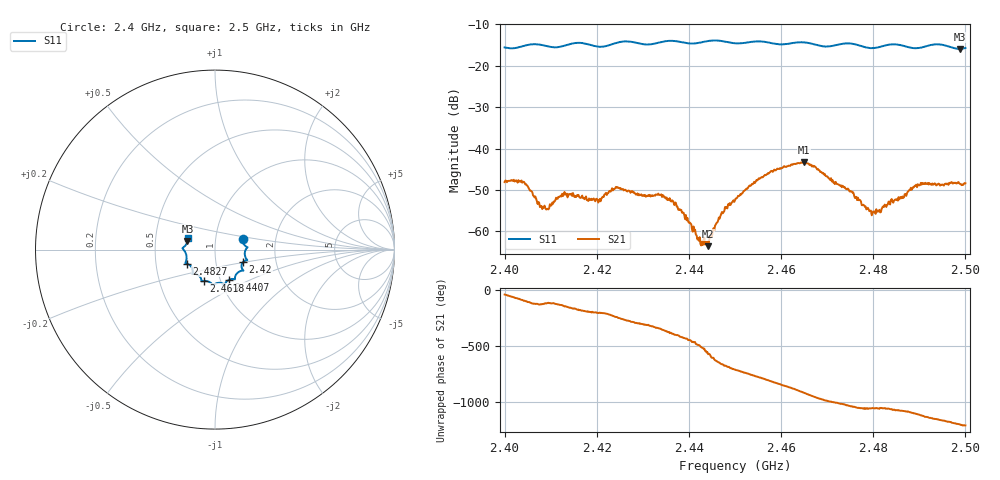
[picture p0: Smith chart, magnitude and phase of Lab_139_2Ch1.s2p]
# Hz S RI R 50
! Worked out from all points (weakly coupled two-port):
!   601 points, 2.4 GHz to 2.5 GHz, reference 50 ohm
!   highest |S21| = -43.31 dB at 2.465 GHz (marker M1); lowest = -63.6 dB at 2.4442 GHz (marker M2)
!   lowest |S11| = -15.9 dB at 2.4988 GHz (marker M3), VSWR 1.38, Z = 36.6 + j3.41 ohm
!   |S11| at or under -10 dB: start of sweep to end of sweep
!   S12 and S22 are empty: the file has one direction only
!   S11 on the Smith chart (normalised r, x): 2.4 GHz: 1.35, +0.17; 2.42 GHz: 1.36, -0.19; 2.4407 GHz: 1.10, -0.38; 2.4618 GHz: 0.83, -0.30; 2.4827 GHz: 0.72, -0.12; 2.5 GHz: 0.73, +0.10
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2.4e9  0.1547 0.0614  0.00316 -0.00235  0 0  0 0
2.404167e9  0.1728 0.017  -0.000208 -0.00397  0 0  0 0
2.408667e9  0.1752 0.00575  -0.000994 -0.00179  0 0  0 0
2.413e9  0.1694 -0.0424  -0.0024 -0.00178  0 0  0 0
2.416667e9  0.1789 -0.0585  -0.00257 7.78e-05  0 0  0 0
2.42e9  0.1565 -0.0691  -0.00231 0.00088  0 0  0 0
2.424333e9  0.1535 -0.1109  -0.00178 0.00287  0 0  0 0
2.433333e9  0.1116 -0.153  0.00267 0.00103  0 0  0 0
2.436833e9  0.1099 -0.1657  0.00163 -0.00128  0 0  0 0
2.440667e9  0.079 -0.1675  -0.000255 -0.00103  0 0  0 0
2.442667e9  0.0617 -0.1811  -0.000584 -0.00034  0 0  0 0
2.444167e9  0.0554 -0.1908  -0.000553 0.000365  0 0  0 0
2.45e9  0.027 -0.1848  0.00236 0.000351  0 0  0 0
2.461833e9  -0.0614 -0.1747  -0.00546 -0.00292  0 0  0 0
2.465e9  -0.0747 -0.1762  -0.00638 0.00243  0 0  0 0
2.466667e9  -0.0757 -0.1682  -0.00406 0.00453  0 0  0 0
2.4795e9  -0.1312 -0.0969  0.00168 0.000598  0 0  0 0
2.482667e9  -0.1581 -0.0779  0.00198 0.000581  0 0  0 0
2.483333e9  -0.162 -0.0768  0.00218 0.000702  0 0  0 0
2.490167e9  -0.1635 -0.0188  0.00274 -0.00236  0 0  0 0
2.498833e9  -0.1533 0.0454  -0.00219 -0.00304  0 0  0 0
2.5e9  -0.1511 0.0633  -0.00266 -0.00273  0 0  0 0
